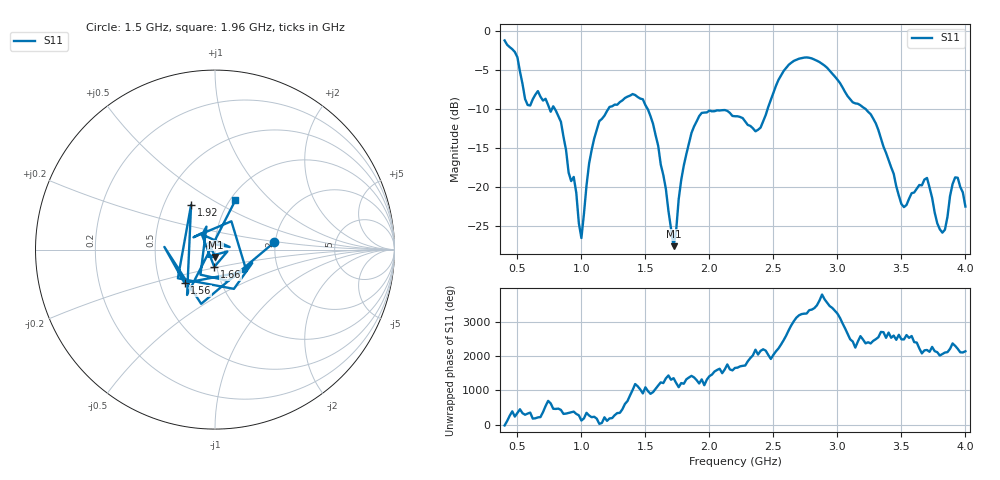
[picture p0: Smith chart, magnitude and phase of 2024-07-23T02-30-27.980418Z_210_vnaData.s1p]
!Created with skrf (http://scikit-rf.org).
# Hz S RI R 50.0
!freq ReS11 ImS11
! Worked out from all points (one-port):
!   181 points, 400 MHz to 4 GHz, reference 50 ohm
!   lowest |S11| = -27.6 dB at 1.72 GHz (marker M1), VSWR 1.09, Z = 50 - j4.16 ohm
!   |S11| at or under -10 dB: 790.7 MHz to 1.212 GHz (421.3 MHz wide, 42.1 % of centre); 1.516 GHz to 2.456 GHz (940.2 MHz wide, 47.3 % of centre); 3.215 GHz to end of sweep (the widest 3 of 4)
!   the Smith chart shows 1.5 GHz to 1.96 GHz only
!   S11 on the Smith chart (normalised r, x): 1.5 GHz: 1.97, +0.18; 1.56 GHz: 0.67, -0.27; 1.66 GHz: 0.97, -0.19; 1.92 GHz: 0.68, +0.37; 1.96 GHz: 1.06, +0.64
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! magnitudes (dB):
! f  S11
! 400 MHz  -1.3
! 500 MHz  -3.4
! 580 MHz  -9.5
! 660 MHz  -7.8
! 860 MHz  -13.6
! 940 MHz  -18.8
! 1 GHz  -26.6
! 1.1 GHz  -13.8
! 1.3 GHz  -9.2
! 1.5 GHz  -9.6
! 1.56 GHz  -12.0
! 1.66 GHz  -20.3
! 1.72 GHz  -27.6
! 1.76 GHz  -21.6
! 1.92 GHz  -11.0
! 1.96 GHz  -10.5
! 2.2 GHz  -11.0
! 2.4 GHz  -12.4
! 2.66 GHz  -3.9
! 2.88 GHz  -4.3
! 3.1 GHz  -8.8
! 3.26 GHz  -10.7
! 3.5 GHz  -22.2
! 3.56 GHz  -21.6
! 3.7 GHz  -18.9
! 3.82 GHz  -25.9
! 3.92 GHz  -18.8
! 4 GHz  -22.6
